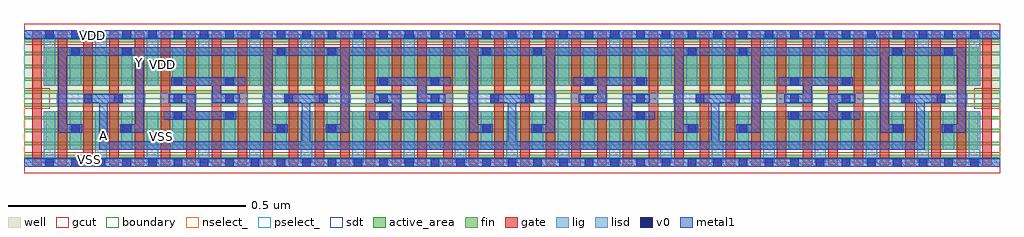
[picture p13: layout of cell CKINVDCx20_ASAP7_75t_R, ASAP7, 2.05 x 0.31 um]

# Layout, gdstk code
import gdstk
lib = gdstk.Library(unit=1e-6, precision=1e-09)
def R(c, l, rs):  # rectangles x0, y0, x1, y1
    for r in rs: c.add(gdstk.rectangle(r[:2], r[2:], *l))
def A(c, l, x, y, w, h, nx, ny, dx, dy):  # array of equal rectangles
    R(c, l, [(x+i*dx, y+j*dy, x+i*dx+w, y+j*dy+h) for i in range(nx) for j in range(ny)])
def P(c, l, *ps):  # polygons
    for p in ps: c.add(gdstk.Polygon(p, *l))
well = (1, 0)
fin = (2, 0)
gate = (7, 0)
gcut = (10, 0)
active_area = (11, 0)
nselect_ = (12, 0)
pselect_ = (13, 0)
lig = (16, 0)
lisd = (17, 0)
v0 = (18, 0)
metal1 = (19, 0)
sdt = (88, 0)
boundary = (100, 0)

ckinvdcx20_asap7_75t_r = lib.new_cell('CKINVDCx20_ASAP7_75t_R')
R(ckinvdcx20_asap7_75t_r, well, [(0,0.135,2.052,0.27)])
A(ckinvdcx20_asap7_75t_r, fin, 0, 0.01, 2.052, 0.007, 1, 10, 0, 0.027)
A(ckinvdcx20_asap7_75t_r, gate, 0.017, -0.005, 0.02, 0.28, 30, 1, 0.054, 0)
A(ckinvdcx20_asap7_75t_r, gate, 1.583, -0.005, 0.02, 0.28, 9, 1, 0.054, 0)
R(ckinvdcx20_asap7_75t_r, gcut, [(0,-0.022,2.052,0.022), (0,0.113,0.054,0.157), (1.998,0.113,2.052,0.157), (0,0.248,2.052,0.292)])
R(ckinvdcx20_asap7_75t_r, active_area, [(0.046,0.027,2.006,0.108), (0.046,0.162,2.006,0.243)])
R(ckinvdcx20_asap7_75t_r, nselect_, [(0,0,2.052,0.135)])
R(ckinvdcx20_asap7_75t_r, pselect_, [(0,0.135,2.052,0.27)])
A(ckinvdcx20_asap7_75t_r, lig, 0.069, 0.125, 0.186, 0.02, 5, 1, 0.432, 0)
R(ckinvdcx20_asap7_75t_r, lig, [(0,-0.008,2.052,0.008), (0.286,0.124,0.362,0.146), (0.394,0.124,0.47,0.146), (0.718,0.124,0.794,0.146), (0.826,0.124,0.902,0.146), (1.15,0.124,1.226,0.146), (1.258,0.124,1.334,0.146), (1.582,0.124,1.658,0.146), (1.69,0.124,1.766,0.146), (0,0.262,2.052,0.278)])
A(ckinvdcx20_asap7_75t_r, lisd, 0.042, 0, 0.024, 0.108, 15, 2, 0.108, 0.162)
A(ckinvdcx20_asap7_75t_r, lisd, 1.554, 0, 0.024, 0.108, 5, 2, 0.108, 0.162)
A(ckinvdcx20_asap7_75t_r, lisd, 0.096, 0.027, 0.024, 0.081, 18, 2, 0.108, 0.135)
A(ckinvdcx20_asap7_75t_r, v0, 0.045, -0.009, 0.018, 0.018, 29, 2, 0.054, 0.27)
A(ckinvdcx20_asap7_75t_r, v0, 1.557, -0.009, 0.018, 0.018, 9, 2, 0.054, 0.27)
A(ckinvdcx20_asap7_75t_r, v0, 0.315, 0.09, 0.018, 0.018, 1, 3, 0, 0.036)
A(ckinvdcx20_asap7_75t_r, v0, 0.423, 0.09, 0.018, 0.018, 1, 3, 0, 0.036)
A(ckinvdcx20_asap7_75t_r, v0, 0.747, 0.09, 0.018, 0.018, 1, 3, 0, 0.036)
A(ckinvdcx20_asap7_75t_r, v0, 0.855, 0.09, 0.018, 0.018, 1, 3, 0, 0.036)
A(ckinvdcx20_asap7_75t_r, v0, 1.179, 0.09, 0.018, 0.018, 1, 3, 0, 0.036)
A(ckinvdcx20_asap7_75t_r, v0, 1.287, 0.09, 0.018, 0.018, 1, 3, 0, 0.036)
A(ckinvdcx20_asap7_75t_r, v0, 1.611, 0.09, 0.018, 0.018, 1, 3, 0, 0.036)
A(ckinvdcx20_asap7_75t_r, v0, 1.719, 0.09, 0.018, 0.018, 1, 3, 0, 0.036)
R(ckinvdcx20_asap7_75t_r, v0, [(0.099,0.063,0.117,0.081), (0.207,0.063,0.225,0.081), (0.531,0.063,0.549,0.081), (0.639,0.063,0.657,0.081), (0.963,0.063,0.981,0.081), (1.071,0.063,1.089,0.081), (1.395,0.063,1.413,0.081), (1.503,0.063,1.521,0.081), (1.827,0.063,1.845,0.081), (1.935,0.063,1.953,0.081), (0.126,0.126,0.144,0.144), (0.19,0.126,0.208,0.144), (0.547,0.126,0.565,0.144), (0.621,0.126,0.639,0.144), (0.98,0.126,0.998,0.144), (1.054,0.126,1.072,0.144), (1.412,0.126,1.43,0.144), (1.487,0.126,1.505,0.144), (1.844,0.126,1.862,0.144), (1.919,0.126,1.937,0.144), (0.099,0.225,0.117,0.243), (0.207,0.225,0.225,0.243), (0.531,0.225,0.549,0.243), (0.639,0.225,0.657,0.243), (0.963,0.225,0.981,0.243), (1.071,0.225,1.089,0.243), (1.395,0.225,1.413,0.243), (1.503,0.225,1.521,0.243), (1.827,0.225,1.845,0.243), (1.935,0.225,1.953,0.243)])
R(ckinvdcx20_asap7_75t_r, metal1, [(0,-0.009,2.052,0.009), (0,0.261,2.052,0.279)])
P(ckinvdcx20_asap7_75t_r, metal1, [(1.005,0.027),(1.005,0.045),(1.876,0.045),(1.876,0.126),(1.844,0.126),(1.844,0.144),(1.937,0.144),(1.937,0.126),(1.894,0.126),(1.894,0.027)],
  [(0.294,0.09),(0.294,0.108),(0.342,0.108),(0.342,0.126),(0.304,0.126),(0.304,0.144),(0.36,0.144),(0.36,0.108),(0.446,0.108),(0.446,0.09)],
  [(0.396,0.126),(0.396,0.162),(0.31,0.162),(0.31,0.18),(0.465,0.18),(0.465,0.162),(0.414,0.162),(0.414,0.144),(0.454,0.144),(0.454,0.126)],
  [(1.8,0.063),(1.8,0.225),(1.534,0.225),(1.534,0.243),(1.98,0.243),(1.98,0.063),(1.93,0.063),(1.93,0.081),(1.962,0.081),(1.962,0.225),(1.818,0.225),(1.818,0.081),(1.85,0.081),(1.85,0.063)],
  [(0.726,0.09),(0.726,0.108),(0.774,0.108),(0.774,0.126),(0.736,0.126),(0.736,0.144),(0.792,0.144),(0.792,0.108),(0.878,0.108),(0.878,0.09)],
  [(0.072,0.063),(0.072,0.243),(1.32,0.243),(1.32,0.225),(1.116,0.225),(1.116,0.063),(1.066,0.063),(1.066,0.081),(1.098,0.081),(1.098,0.225),(0.954,0.225),(0.954,0.081),(0.986,0.081),(0.986,0.063),(0.936,0.063),(0.936,0.225),(0.684,0.225),(0.684,0.063),(0.634,0.063),(0.634,0.081),(0.666,0.081),(0.666,0.225),(0.522,0.225),(0.522,0.081),(0.554,0.081),(0.554,0.063),(0.504,0.063),(0.504,0.225),(0.252,0.225),(0.252,0.063),(0.202,0.063),(0.202,0.081),(0.234,0.081),(0.234,0.225),(0.09,0.225),(0.09,0.081),(0.122,0.081),(0.122,0.063)],
  [(1.368,0.063),(1.368,0.225),(1.317,0.225),(1.317,0.243),(1.548,0.243),(1.548,0.063),(1.498,0.063),(1.498,0.081),(1.53,0.081),(1.53,0.225),(1.386,0.225),(1.386,0.081),(1.418,0.081),(1.418,0.063)],
  [(0.158,0.027),(0.158,0.126),(0.126,0.126),(0.126,0.144),(0.208,0.144),(0.208,0.126),(0.176,0.126),(0.176,0.045),(0.584,0.045),(0.584,0.126),(0.547,0.126),(0.547,0.144),(0.639,0.144),(0.639,0.126),(0.602,0.126),(0.602,0.045),(1.017,0.045),(1.017,0.126),(0.98,0.126),(0.98,0.144),(1.072,0.144),(1.072,0.126),(1.035,0.126),(1.035,0.045),(1.32,0.045),(1.32,0.027)],
  [(1.598,0.126),(1.598,0.144),(1.638,0.144),(1.638,0.162),(1.587,0.162),(1.587,0.18),(1.742,0.18),(1.742,0.162),(1.656,0.162),(1.656,0.126)],
  [(1.606,0.09),(1.606,0.108),(1.692,0.108),(1.692,0.144),(1.748,0.144),(1.748,0.126),(1.71,0.126),(1.71,0.108),(1.758,0.108),(1.758,0.09)],
  [(0.828,0.126),(0.828,0.162),(0.742,0.162),(0.742,0.18),(0.897,0.18),(0.897,0.162),(0.846,0.162),(0.846,0.144),(0.886,0.144),(0.886,0.126)],
  [(1.166,0.126),(1.166,0.144),(1.206,0.144),(1.206,0.162),(1.155,0.162),(1.155,0.18),(1.31,0.18),(1.31,0.162),(1.224,0.162),(1.224,0.126)],
  [(1.174,0.09),(1.174,0.108),(1.26,0.108),(1.26,0.144),(1.316,0.144),(1.316,0.126),(1.278,0.126),(1.278,0.108),(1.326,0.108),(1.326,0.09)],
  [(1.323,0.027),(1.323,0.045),(1.444,0.045),(1.444,0.126),(1.412,0.126),(1.412,0.144),(1.505,0.144),(1.505,0.126),(1.462,0.126),(1.462,0.027)])
A(ckinvdcx20_asap7_75t_r, sdt, 0.042, 0.027, 0.024, 0.081, 29, 2, 0.054, 0.135)
A(ckinvdcx20_asap7_75t_r, sdt, 1.554, 0.027, 0.024, 0.081, 9, 2, 0.054, 0.135)
R(ckinvdcx20_asap7_75t_r, boundary, [(0,0,2.052,0.27)])
ckinvdcx20_asap7_75t_r.add(gdstk.Label('VSS', (0.137,0.006), layer=19, texttype=251))
ckinvdcx20_asap7_75t_r.add(gdstk.Label('VDD', (0.144,0.267), layer=19, texttype=251))
ckinvdcx20_asap7_75t_r.add(gdstk.Label('A', (0.168,0.057), layer=19, texttype=251))
ckinvdcx20_asap7_75t_r.add(gdstk.Label('Y', (0.243,0.21), layer=19, texttype=251))
ckinvdcx20_asap7_75t_r.add(gdstk.Label('VDD', (0.292,0.207), layer=1, texttype=251))
ckinvdcx20_asap7_75t_r.add(gdstk.Label('VSS', (0.289,0.055), layer=3, texttype=251))

lib.write_gds('CKINVDCx20_ASAP7_75t_R.gds')
